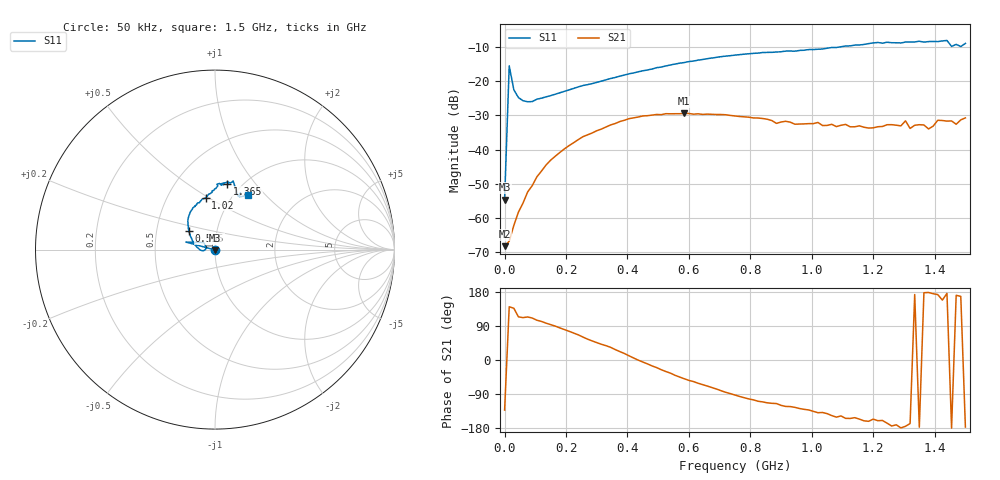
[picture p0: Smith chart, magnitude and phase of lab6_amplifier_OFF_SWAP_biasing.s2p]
# HZ S RI R 50
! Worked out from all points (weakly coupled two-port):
!   101 points, 50 kHz to 1.5 GHz, reference 50 ohm
!   highest |S21| = -29.40 dB at 585 MHz (marker M1); lowest = -68.3 dB at 50 kHz (marker M2)
!   lowest |S11| = -54.6 dB at 50 kHz (marker M3), VSWR 1.00, Z = 50 - j0.184 ohm
!   |S11| at or under -10 dB: start of sweep to 1.088 GHz
!   S12 and S22 are empty: the file has one direction only
!   S11 on the Smith chart (normalised r, x): 50 kHz: 1.00, -0.00; 555 MHz: 0.73, +0.16; 1.02 GHz: 0.77, +0.49; 1.365 GHz: 0.86, +0.73; 1.5 GHz: 1.15, +0.81
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50000  -0.000259 -0.00184  -0.000258 -0.000286  0 0  0 0
1.50495e7  -0.1629 0.042  -0.000351 0.00029  0 0  0 0
3.0049e7  -0.0638 0.0396  -0.000563 0.000533  0 0  0 0
6.0048e7  -0.0499 0.0141  -0.000612 0.00153  0 0  0 0
1.350455e8  -0.059 -0.00364  -0.000746 0.0059  0 0  0 0
2.550415e8  -0.0866 0.00124  0.00759 0.0134  0 0  0 0
4.050365e8  -0.1217 0.0411  0.0278 0.00545  0 0  0 0
5.10033e8  -0.1382 0.0832  0.0292 -0.0141  0 0  0 0
5.550315e8  -0.1451 0.1043  0.0255 -0.0217  0 0  0 0
5.850305e8  -0.1481 0.116  0.022 -0.0258  0 0  0 0
7.50025e8  -0.1434 0.1941  -0.00132 -0.031  0 0  0 0
1.005016e9  -0.0603 0.2847  -0.0171 -0.0168  0 0  0 0
1.020016e9  -0.0525 0.2895  -0.0189 -0.0163  0 0  0 0
1.18501e9  0.0159 0.3556  -0.0196 -0.00645  0 0  0 0
1.260008e9  0.0414 0.3643  -0.023 -0.00233  0 0  0 0
1.305006e9  0.0485 0.3714  -0.0262 -0.00232  0 0  0 0
1.320006e9  0.052 0.3718  -0.0199 -0.00439  0 0  0 0
1.365004e9  0.0692 0.367  -0.0229 0.000984  0 0  0 0
1.380004e9  0.0761 0.3729  -0.02 0.000637  0 0  0 0
1.410003e9  0.0847 0.371  -0.0266 0.00344  0 0  0 0
1.470001e9  0.1424 0.316  -0.0232 0.0038  0 0  0 0
1.5e9  0.1858 0.3055  -0.0291 -0.00155  0 0  0 0
